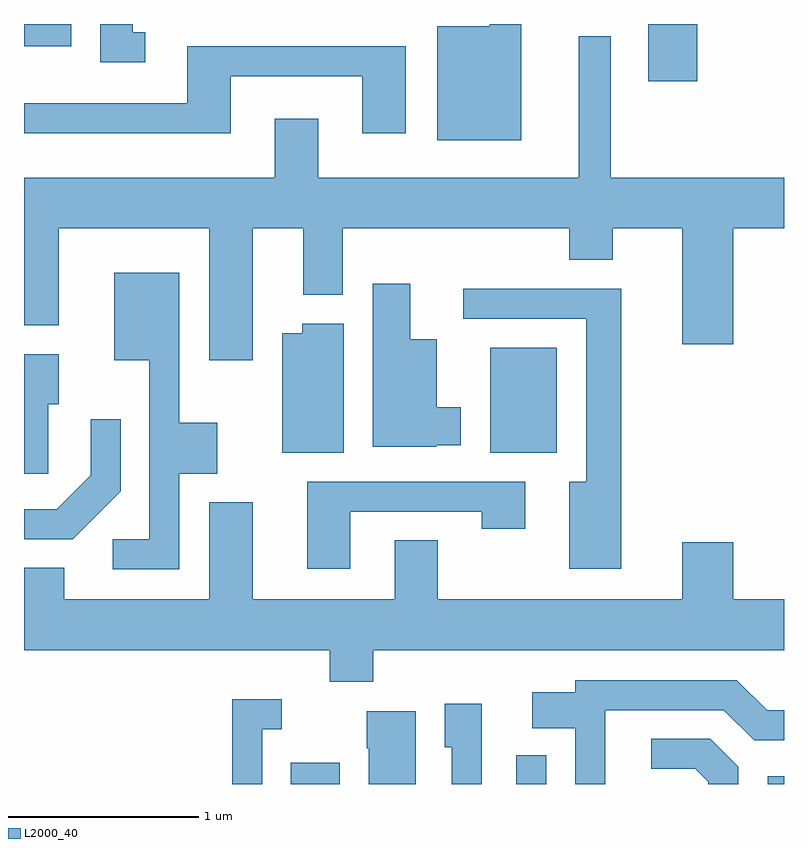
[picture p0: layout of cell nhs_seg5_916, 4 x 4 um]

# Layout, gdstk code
import gdstk
lib = gdstk.Library(unit=1e-6, precision=1e-09)
def R(c, l, rs):  # rectangles x0, y0, x1, y1
    for r in rs: c.add(gdstk.rectangle(r[:2], r[2:], *l))
def P(c, l, *ps):  # polygons
    for p in ps: c.add(gdstk.Polygon(p, *l))
L2000_40 = (2000, 40)

nhs_seg5_916 = lib.new_cell('nhs_seg5_916')
R(nhs_seg5_916, L2000_40, [(213.016,1476.072,213.274,1476.184), (214.201,1476.072,214.359,1476.223), (215.526,1476.072,215.611,1476.114), (214.066,1477.816,214.414,1478.369), (214.896,1479.771,215.154,1480.072), (211.611,1479.956,211.859,1480.072)])
P(nhs_seg5_916, L2000_40, [(214.229,1480.072),(214.061,1480.072),(214.061,1480.059),(213.786,1480.059),(213.786,1479.461),(214.229,1479.461)],
  [(212.248,1480.029),(212.184,1480.029),(212.184,1480.072),(212.011,1480.072),(212.011,1479.871),(212.248,1479.871)],
  [(212.814,1478.996),(213.081,1478.996),(213.081,1478.646),(213.289,1478.646),(213.289,1478.996),(214.481,1478.996),(214.481,1478.831),(214.709,1478.831),(214.709,1478.996),(215.076,1478.996),(215.076,1478.386),(215.344,1478.386),(215.344,1478.996),(215.611,1478.996),(215.611,1479.264),(214.699,1479.264),(214.699,1480.008),(214.531,1480.008),(214.531,1479.264),(213.159,1479.264),(213.159,1479.574),(212.931,1479.574),(212.931,1479.264),(211.611,1479.264),(211.611,1478.486),(211.794,1478.486),(211.794,1478.996),(212.586,1478.996),(212.586,1478.301),(212.814,1478.301)],
  [(212.699,1479.796),(213.391,1479.796),(213.391,1479.496),(213.619,1479.496),(213.619,1479.954),(212.471,1479.954),(212.471,1479.654),(211.611,1479.654),(211.611,1479.496),(212.699,1479.496)],
  [(212.429,1477.706),(212.629,1477.706),(212.629,1477.974),(212.429,1477.974),(212.429,1478.764),(212.086,1478.764),(212.086,1478.301),(212.271,1478.301),(212.271,1477.359),(212.078,1477.359),(212.078,1477.201),(212.429,1477.201)],
  [(213.78,1477.856),(213.909,1477.856),(213.909,1478.054),(213.784,1478.054),(213.784,1478.414),(213.644,1478.414),(213.644,1478.704),(213.446,1478.704),(213.446,1477.846),(213.78,1477.846)],
  [(214.754,1478.679),(213.923,1478.679),(213.923,1478.521),(214.571,1478.521),(214.571,1477.664),(214.481,1477.664),(214.481,1477.206),(214.754,1477.206)],
  [(213.294,1478.494),(213.076,1478.494),(213.076,1478.444),(212.971,1478.444),(212.971,1477.816),(213.294,1477.816)],
  [(211.739,1478.071),(211.794,1478.071),(211.794,1478.334),(211.611,1478.334),(211.611,1477.706),(211.739,1477.706)],
  [(212.119,1477.614),(212.119,1477.993),(211.961,1477.993),(211.961,1477.697),(211.784,1477.519),(211.611,1477.519),(211.611,1477.361),(211.867,1477.361)],
  [(213.329,1477.506),(214.021,1477.506),(214.021,1477.416),(214.249,1477.416),(214.249,1477.664),(213.101,1477.664),(213.101,1477.206),(213.329,1477.206)],
  [(213.449,1476.776),(215.611,1476.776),(215.611,1477.044),(215.344,1477.044),(215.344,1477.344),(215.076,1477.344),(215.076,1477.044),(213.789,1477.044),(213.789,1477.354),(213.561,1477.354),(213.561,1477.044),(212.814,1477.044),(212.814,1477.554),(212.586,1477.554),(212.586,1477.044),(211.824,1477.044),(211.824,1477.209),(211.611,1477.209),(211.611,1476.776),(213.221,1476.776),(213.221,1476.611),(213.449,1476.611)],
  [(214.669,1476.461),(215.294,1476.461),(215.454,1476.301),(215.611,1476.301),(215.611,1476.459),(215.522,1476.459),(215.362,1476.619),(214.511,1476.619),(214.511,1476.554),(214.286,1476.554),(214.286,1476.366),(214.511,1476.366),(214.511,1476.072),(214.669,1476.072)],
  [(212.864,1476.361),(212.968,1476.361),(212.968,1476.519),(212.706,1476.519),(212.706,1476.072),(212.864,1476.072)],
  [(214.019,1476.494),(213.826,1476.494),(213.826,1476.266),(213.861,1476.266),(213.861,1476.072),(214.019,1476.072)],
  [(213.674,1476.454),(213.416,1476.454),(213.416,1476.26),(213.426,1476.26),(213.426,1476.072),(213.674,1476.072)],
  [(215.369,1476.162),(215.222,1476.309),(214.913,1476.309),(214.913,1476.151),(215.144,1476.151),(215.211,1476.084),(215.211,1476.072),(215.369,1476.072)])

lib.write_gds('nhs_seg5_916.gds')
